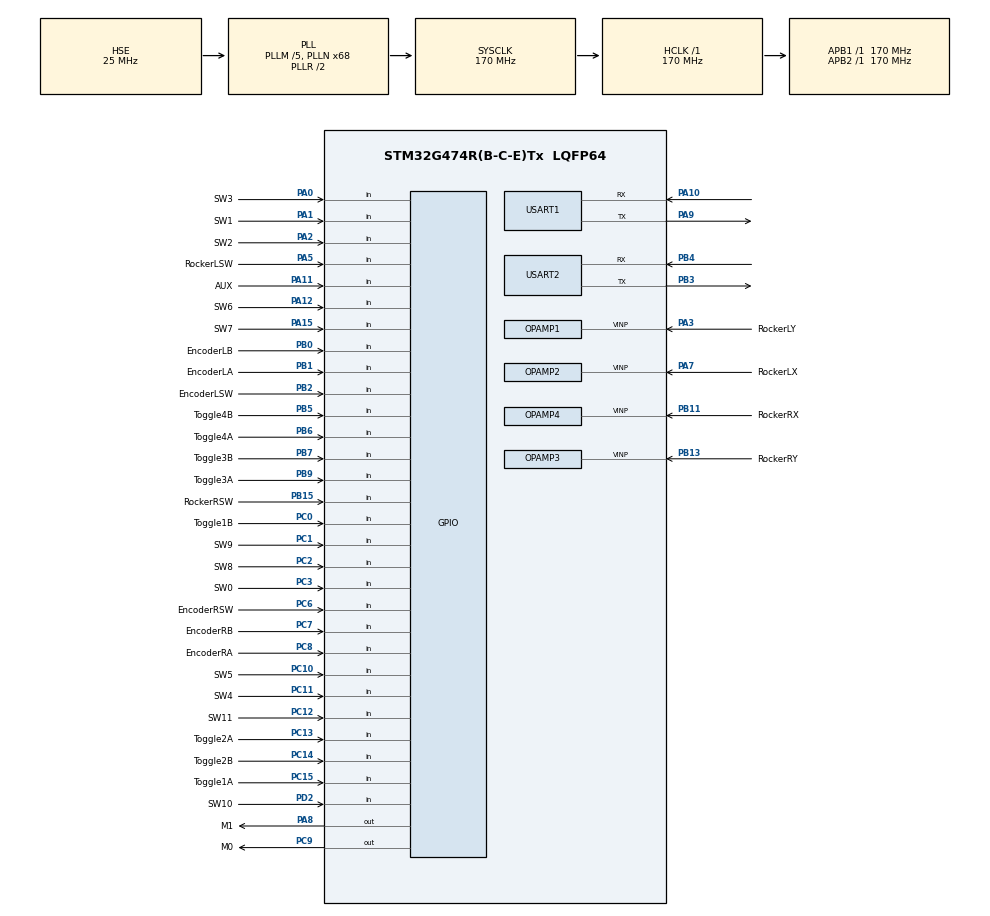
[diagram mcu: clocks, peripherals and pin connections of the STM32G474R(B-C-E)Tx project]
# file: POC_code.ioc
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ADC1.Channel-0\#ChannelRegularConversion=ADC_CHANNEL_VOPAMP1
ADC1.ContinuousConvMode=ENABLE
ADC1.DMAContinuousRequests=ENABLE
ADC1.NbrOfConversion=1
ADC1.NbrOfConversionFlag=1
ADC1.OffsetNumber-0\#ChannelRegularConversion=ADC_OFFSET_NONE
ADC1.Rank-0\#ChannelRegularConversion=1
ADC1.SamplingTime-0\#ChannelRegularConversion=ADC_SAMPLETIME_6CYCLES_5
ADC1.master=1
ADC2.Channel-0\#ChannelRegularConversion=ADC_CHANNEL_VOPAMP2
ADC2.ContinuousConvMode=ENABLE
ADC2.DMAContinuousRequests=ENABLE
ADC2.NbrOfConversionFlag=1
ADC2.OffsetNumber-0\#ChannelRegularConversion=ADC_OFFSET_NONE
ADC2.Rank-0\#ChannelRegularConversion=1
ADC2.SamplingTime-0\#ChannelRegularConversion=ADC_SAMPLETIME_6CYCLES_5
ADC3.Channel-0\#ChannelRegularConversion=ADC_CHANNEL_VOPAMP3_ADC3
ADC3.ContinuousConvMode=ENABLE
ADC3.DMAContinuousRequests=ENABLE
ADC3.NbrOfConversionFlag=1
ADC3.OffsetNumber-0\#ChannelRegularConversion=ADC_OFFSET_NONE
ADC3.Rank-0\#ChannelRegularConversion=1
ADC3.SamplingTime-0\#ChannelRegularConversion=ADC_SAMPLETIME_6CYCLES_5
ADC3.master=1
ADC5.Channel-0\#ChannelRegularConversion=ADC_CHANNEL_VOPAMP4
ADC5.ContinuousConvMode=ENABLE
ADC5.DMAContinuousRequests=ENABLE
ADC5.NbrOfConversionFlag=1
ADC5.OffsetNumber-0\#ChannelRegularConversion=ADC_OFFSET_NONE
ADC5.Rank-0\#ChannelRegularConversion=1
ADC5.SamplingTime-0\#ChannelRegularConversion=ADC_SAMPLETIME_6CYCLES_5
Dma.ADC1.4.Direction=DMA_PERIPH_TO_MEMORY
Dma.ADC1.4.EventEnable=DISABLE
Dma.ADC1.4.Instance=DMA1_Channel1
Dma.ADC1.4.MemDataAlignment=DMA_MDATAALIGN_HALFWORD
Dma.ADC1.4.MemInc=DMA_MINC_ENABLE
Dma.ADC1.4.Mode=DMA_CIRCULAR
Dma.ADC1.4.PeriphDataAlignment=DMA_PDATAALIGN_HALFWORD
Dma.ADC1.4.PeriphInc=DMA_PINC_DISABLE
Dma.ADC1.4.Polarity=HAL_DMAMUX_REQ_GEN_RISING
Dma.ADC1.4.Priority=DMA_PRIORITY_LOW
Dma.ADC1.4.RequestNumber=1
Dma.ADC1.4.SignalID=NONE
Dma.ADC1.4.SyncEnable=DISABLE
Dma.ADC1.4.SyncPolarity=HAL_DMAMUX_SYNC_NO_EVENT
Dma.ADC1.4.SyncRequestNumber=1
Dma.ADC1.4.SyncSignalID=NONE
Dma.ADC2.5.Direction=DMA_PERIPH_TO_MEMORY
Dma.ADC2.5.EventEnable=DISABLE
Dma.ADC2.5.Instance=DMA1_Channel2
Dma.ADC2.5.MemDataAlignment=DMA_MDATAALIGN_HALFWORD
Dma.ADC2.5.MemInc=DMA_MINC_ENABLE
Dma.ADC2.5.Mode=DMA_CIRCULAR
Dma.ADC2.5.PeriphDataAlignment=DMA_PDATAALIGN_HALFWORD
Dma.ADC2.5.PeriphInc=DMA_PINC_DISABLE
Dma.ADC2.5.Polarity=HAL_DMAMUX_REQ_GEN_RISING
Dma.ADC2.5.Priority=DMA_PRIORITY_LOW
Dma.ADC2.5.RequestNumber=1
Dma.ADC2.5.SignalID=NONE
Dma.ADC2.5.SyncEnable=DISABLE
Dma.ADC2.5.SyncPolarity=HAL_DMAMUX_SYNC_NO_EVENT
Dma.ADC2.5.SyncRequestNumber=1
Dma.ADC2.5.SyncSignalID=NONE
Dma.ADC3.6.Direction=DMA_PERIPH_TO_MEMORY
Dma.ADC3.6.EventEnable=DISABLE
Dma.ADC3.6.Instance=DMA1_Channel3
Dma.ADC3.6.MemDataAlignment=DMA_MDATAALIGN_HALFWORD
Dma.ADC3.6.MemInc=DMA_MINC_ENABLE
Dma.ADC3.6.Mode=DMA_CIRCULAR
Dma.ADC3.6.PeriphDataAlignment=DMA_PDATAALIGN_HALFWORD
Dma.ADC3.6.PeriphInc=DMA_PINC_DISABLE
Dma.ADC3.6.Polarity=HAL_DMAMUX_REQ_GEN_RISING
Dma.ADC3.6.Priority=DMA_PRIORITY_LOW
Dma.ADC3.6.RequestNumber=1
Dma.ADC3.6.SignalID=NONE
Dma.ADC3.6.SyncEnable=DISABLE
Dma.ADC3.6.SyncPolarity=HAL_DMAMUX_SYNC_NO_EVENT
Dma.ADC3.6.SyncRequestNumber=1
Dma.ADC3.6.SyncSignalID=NONE
Dma.ADC5.7.Direction=DMA_PERIPH_TO_MEMORY
Dma.ADC5.7.EventEnable=DISABLE
Dma.ADC5.7.Instance=DMA1_Channel4
Dma.ADC5.7.MemDataAlignment=DMA_MDATAALIGN_HALFWORD
Dma.ADC5.7.MemInc=DMA_MINC_ENABLE
Dma.ADC5.7.Mode=DMA_CIRCULAR
Dma.ADC5.7.PeriphDataAlignment=DMA_PDATAALIGN_HALFWORD
Dma.ADC5.7.PeriphInc=DMA_PINC_DISABLE
Dma.ADC5.7.Polarity=HAL_DMAMUX_REQ_GEN_RISING
Dma.ADC5.7.Priority=DMA_PRIORITY_LOW
Dma.ADC5.7.RequestNumber=1
Dma.ADC5.7.SignalID=NONE
Dma.ADC5.7.SyncEnable=DISABLE
Dma.ADC5.7.SyncPolarity=HAL_DMAMUX_SYNC_NO_EVENT
Dma.ADC5.7.SyncRequestNumber=1
Dma.ADC5.7.SyncSignalID=NONE
Dma.Request0=USART1_RX
Dma.Request1=USART1_TX
Dma.Request2=USART2_RX
Dma.Request3=USART2_TX
Dma.Request4=ADC1
Dma.Request5=ADC2
Dma.Request6=ADC3
Dma.Request7=ADC5
Dma.USART1_RX.0.Direction=DMA_PERIPH_TO_MEMORY
Dma.USART1_RX.0.EventEnable=DISABLE
Dma.USART1_RX.0.Instance=DMA2_Channel1
Dma.USART1_RX.0.MemDataAlignment=DMA_MDATAALIGN_BYTE
Dma.USART1_RX.0.MemInc=DMA_MINC_ENABLE
Dma.USART1_RX.0.Mode=DMA_NORMAL
Dma.USART1_RX.0.PeriphDataAlignment=DMA_PDATAALIGN_BYTE
Dma.USART1_RX.0.PeriphInc=DMA_PINC_DISABLE
Dma.USART1_RX.0.Polarity=HAL_DMAMUX_REQ_GEN_RISING
Dma.USART1_RX.0.Priority=DMA_PRIORITY_HIGH
Dma.USART1_RX.0.RequestNumber=1
Dma.USART1_RX.0.SignalID=NONE
Dma.USART1_RX.0.SyncEnable=DISABLE
Dma.USART1_RX.0.SyncPolarity=HAL_DMAMUX_SYNC_NO_EVENT
Dma.USART1_RX.0.SyncRequestNumber=1
Dma.USART1_RX.0.SyncSignalID=NONE
Dma.USART1_TX.1.Direction=DMA_MEMORY_TO_PERIPH
Dma.USART1_TX.1.EventEnable=DISABLE
Dma.USART1_TX.1.Instance=DMA2_Channel2
Dma.USART1_TX.1.MemDataAlignment=DMA_MDATAALIGN_BYTE
Dma.USART1_TX.1.MemInc=DMA_MINC_ENABLE
Dma.USART1_TX.1.Mode=DMA_NORMAL
Dma.USART1_TX.1.PeriphDataAlignment=DMA_PDATAALIGN_BYTE
Dma.USART1_TX.1.PeriphInc=DMA_PINC_DISABLE
Dma.USART1_TX.1.Polarity=HAL_DMAMUX_REQ_GEN_RISING
Dma.USART1_TX.1.Priority=DMA_PRIORITY_HIGH
Dma.USART1_TX.1.RequestNumber=1
Dma.USART1_TX.1.SignalID=NONE
Dma.USART1_TX.1.SyncEnable=DISABLE
Dma.USART1_TX.1.SyncPolarity=HAL_DMAMUX_SYNC_NO_EVENT
Dma.USART1_TX.1.SyncRequestNumber=1
Dma.USART1_TX.1.SyncSignalID=NONE
Dma.USART2_RX.2.Direction=DMA_PERIPH_TO_MEMORY
Dma.USART2_RX.2.EventEnable=DISABLE
Dma.USART2_RX.2.Instance=DMA2_Channel3
Dma.USART2_RX.2.MemDataAlignment=DMA_MDATAALIGN_BYTE
Dma.USART2_RX.2.MemInc=DMA_MINC_ENABLE
Dma.USART2_RX.2.Mode=DMA_NORMAL
Dma.USART2_RX.2.PeriphDataAlignment=DMA_PDATAALIGN_BYTE
Dma.USART2_RX.2.PeriphInc=DMA_PINC_DISABLE
Dma.USART2_RX.2.Polarity=HAL_DMAMUX_REQ_GEN_RISING
Dma.USART2_RX.2.Priority=DMA_PRIORITY_LOW
Dma.USART2_RX.2.RequestNumber=1
Dma.USART2_RX.2.SignalID=NONE
Dma.USART2_RX.2.SyncEnable=DISABLE
Dma.USART2_RX.2.SyncPolarity=HAL_DMAMUX_SYNC_NO_EVENT
Dma.USART2_RX.2.SyncRequestNumber=1
Dma.USART2_RX.2.SyncSignalID=NONE
Dma.USART2_TX.3.Direction=DMA_MEMORY_TO_PERIPH
Dma.USART2_TX.3.EventEnable=DISABLE
Dma.USART2_TX.3.Instance=DMA2_Channel4
Dma.USART2_TX.3.MemDataAlignment=DMA_MDATAALIGN_BYTE
Dma.USART2_TX.3.MemInc=DMA_MINC_ENABLE
Dma.USART2_TX.3.Mode=DMA_NORMAL
Dma.USART2_TX.3.PeriphDataAlignment=DMA_PDATAALIGN_BYTE
Dma.USART2_TX.3.PeriphInc=DMA_PINC_DISABLE
Dma.USART2_TX.3.Polarity=HAL_DMAMUX_REQ_GEN_RISING
Dma.USART2_TX.3.Priority=DMA_PRIORITY_LOW
Dma.USART2_TX.3.RequestNumber=1
Dma.USART2_TX.3.SignalID=NONE
Dma.USART2_TX.3.SyncEnable=DISABLE
Dma.USART2_TX.3.SyncPolarity=HAL_DMAMUX_SYNC_NO_EVENT
Dma.USART2_TX.3.SyncRequestNumber=1
Dma.USART2_TX.3.SyncSignalID=NONE
Mcu.Family=STM32G4
Mcu.Name=STM32G474R(B-C-E)Tx
Mcu.Package=LQFP64
NVIC.DMA1_Channel1_IRQn=true\:6\:0\:true\:false\:true\:true\:true\:true
NVIC.DMA1_Channel2_IRQn=true\:6\:0\:true\:false\:true\:true\:true\:true
NVIC.DMA1_Channel3_IRQn=true\:6\:0\:true\:false\:true\:true\:true\:true
NVIC.DMA1_Channel4_IRQn=true\:6\:0\:true\:false\:true\:false\:true\:true
NVIC.DMA2_Channel1_IRQn=true\:3\:0\:true\:false\:true\:false\:true\:true
NVIC.DMA2_Channel2_IRQn=true\:3\:0\:true\:false\:true\:false\:true\:true
NVIC.DMA2_Channel3_IRQn=true\:3\:0\:true\:false\:true\:false\:true\:true
NVIC.DMA2_Channel4_IRQn=true\:3\:0\:true\:false\:true\:false\:true\:true
NVIC.PriorityGroup=NVIC_PRIORITYGROUP_4
NVIC.TIM1_UP_TIM16_IRQn=true\:15\:0\:false\:false\:true\:false\:true\:true
NVIC.TIM6_DAC_IRQn=true\:0\:0\:true\:false\:true\:true\:true\:true
NVIC.TIM7_DAC_IRQn=true\:0\:0\:true\:false\:true\:true\:true\:true
NVIC.TimeBase=TIM1_UP_TIM16_IRQn
NVIC.TimeBaseIP=TIM1
NVIC.USART1_IRQn=true\:1\:0\:true\:false\:true\:false\:true\:true
NVIC.USART2_IRQn=true\:1\:0\:true\:false\:true\:false\:true\:true
PA0.GPIO_Label=SW3
PA0.GPIO_PuPd=GPIO_PULLUP
PA0.Signal=GPIO_Input
PA1.GPIO_Label=SW1
PA1.GPIO_PuPd=GPIO_PULLUP
PA1.Signal=GPIO_Input
PA10.Mode=Asynchronous
PA10.Signal=USART1_RX
PA11.GPIO_Label=AUX
PA11.GPIO_PuPd=GPIO_NOPULL
PA11.Signal=GPIO_Input
PA12.GPIO_Label=SW6
PA12.GPIO_PuPd=GPIO_PULLUP
PA12.Signal=GPIO_Input
PA13.Mode=Serial_Wire
PA13.Signal=SYS_JTMS-SWDIO
PA14.Mode=Serial_Wire
PA14.Signal=SYS_JTCK-SWCLK
PA15.GPIO_Label=SW7
PA15.GPIO_PuPd=GPIO_PULLUP
PA15.Signal=GPIO_Input
PA2.GPIO_Label=SW2
PA2.GPIO_PuPd=GPIO_PULLUP
PA2.Signal=GPIO_Input
PA3.GPIO_Label=RockerLY
PA3.Mode=Follower_Internally_Connected
PA3.Signal=OPAMP1_VINP
PA5.GPIO_Label=RockerLSW
PA5.GPIO_PuPd=GPIO_PULLUP
PA5.Signal=GPIO_Input
PA7.GPIO_Label=RockerLX
PA7.Mode=Follower_Internally_Connected
PA7.Signal=OPAMP2_VINP
PA8.GPIO_Label=M1
PA8.GPIO_PuPd=GPIO_PULLDOWN
PA8.Signal=GPIO_Output
PA9.Mode=Asynchronous
PA9.Signal=USART1_TX
PB0.GPIO_Label=EncoderLB
PB0.GPIO_PuPd=GPIO_PULLUP
PB0.Signal=GPIO_Input
PB1.GPIO_Label=EncoderLA
PB1.GPIO_PuPd=GPIO_PULLUP
PB1.Signal=GPIO_Input
PB11.GPIO_Label=RockerRX
PB11.Mode=Follower_Internally_Connected
PB11.Signal=OPAMP4_VINP
PB13.GPIO_Label=RockerRY
PB13.Mode=Follower_Internally_Connected
PB13.Signal=OPAMP3_VINP
PB15.GPIO_Label=RockerRSW
PB15.GPIO_PuPd=GPIO_PULLUP
PB15.Signal=GPIO_Input
PB2.GPIO_Label=EncoderLSW
PB2.GPIO_PuPd=GPIO_PULLUP
PB2.Signal=GPIO_Input
PB3.Mode=Asynchronous
PB3.Signal=USART2_TX
PB4.Mode=Asynchronous
PB4.Signal=USART2_RX
PB5.GPIO_Label=Toggle4B
PB5.GPIO_PuPd=GPIO_PULLUP
PB5.Signal=GPIO_Input
PB6.GPIO_Label=Toggle4A
PB6.GPIO_PuPd=GPIO_PULLUP
PB6.Signal=GPIO_Input
PB7.GPIO_Label=Toggle3B
PB7.GPIO_PuPd=GPIO_PULLUP
PB7.Signal=GPIO_Input
PB9.GPIO_Label=Toggle3A
PB9.GPIO_PuPd=GPIO_PULLUP
PB9.Signal=GPIO_Input
PC0.GPIO_Label=Toggle1B
PC0.GPIO_PuPd=GPIO_PULLUP
PC0.Signal=GPIO_Input
PC1.GPIO_Label=SW9
PC1.GPIO_PuPd=GPIO_PULLUP
PC1.Signal=GPIO_Input
PC10.GPIO_Label=SW5
PC10.GPIO_PuPd=GPIO_PULLUP
PC10.Signal=GPIO_Input
PC11.GPIO_Label=SW4
PC11.GPIO_PuPd=GPIO_PULLUP
PC11.Signal=GPIO_Input
PC12.GPIO_Label=SW11
PC12.GPIO_PuPd=GPIO_PULLUP
PC12.Signal=GPIO_Input
PC13.GPIO_Label=Toggle2A
PC13.GPIO_PuPd=GPIO_PULLUP
PC13.Signal=GPIO_Input
PC14-OSC32_IN.GPIO_Label=Toggle2B
PC14-OSC32_IN.GPIO_PuPd=GPIO_PULLUP
PC14-OSC32_IN.Signal=GPIO_Input
PC15-OSC32_OUT.GPIO_Label=Toggle1A
PC15-OSC32_OUT.GPIO_PuPd=GPIO_PULLUP
PC15-OSC32_OUT.Signal=GPIO_Input
PC2.GPIO_Label=SW8
PC2.GPIO_PuPd=GPIO_PULLUP
PC2.Signal=GPIO_Input
PC3.GPIO_Label=SW0
PC3.GPIO_PuPd=GPIO_PULLUP
PC3.Signal=GPIO_Input
PC6.GPIO_Label=EncoderRSW
PC6.GPIO_PuPd=GPIO_PULLUP
PC6.Signal=GPIO_Input
PC7.GPIO_Label=EncoderRB
PC7.GPIO_PuPd=GPIO_PULLUP
PC7.Signal=GPIO_Input
PC8.GPIO_Label=EncoderRA
PC8.GPIO_PuPd=GPIO_PULLUP
PC8.Signal=GPIO_Input
PC9.GPIO_Label=M0
PC9.GPIO_PuPd=GPIO_PULLDOWN
PC9.Signal=GPIO_Output
PD2.GPIO_Label=SW10
PD2.GPIO_PuPd=GPIO_PULLUP
PD2.Signal=GPIO_Input
PF0-OSC_IN.Mode=HSE-External-Oscillator
PF0-OSC_IN.Signal=RCC_OSC_IN
PF1-OSC_OUT.Mode=HSE-External-Oscillator
PF1-OSC_OUT.Signal=RCC_OSC_OUT
ProjectManager.HeapSize=0x200
ProjectManager.StackSize=0x400
ProjectManager.TargetToolchain=MDK-ARM V5.32
RCC.ADC12Freq_Value=170000000
RCC.ADC345Freq_Value=170000000
RCC.AHBFreq_Value=170000000
RCC.APB1Freq_Value=170000000
RCC.APB1TimFreq_Value=170000000
RCC.APB2Freq_Value=170000000
RCC.APB2TimFreq_Value=170000000
RCC.CortexFreq_Value=170000000
RCC.EXTERNAL_CLOCK_VALUE=12288000
RCC.HCLKFreq_Value=170000000
RCC.HSE_VALUE=25000000
RCC.HSI48_VALUE=48000000
RCC.HSI_VALUE=16000000
RCC.LSE_VALUE=32768
RCC.PLLM=RCC_PLLM_DIV5
RCC.PLLN=68
RCC.PLLSourceVirtual=RCC_PLLSOURCE_HSE
RCC.SYSCLKFreq_VALUE=170000000
RCC.SYSCLKSource=RCC_SYSCLKSOURCE_PLLCLK
RCC.USBFreq_Value=170000000
RCC.VCOOutputFreq_Value=340000000
TIM6.PeriodNoDither=1000-1
TIM6.Prescaler=170-1
TIM7.PeriodNoDither=10000-1
TIM7.Prescaler=170-1
USART1.VirtualMode-Asynchronous=VM_ASYNC
USART2.VirtualMode-Asynchronous=VM_ASYNC
VP_ADC1_OPAMP_INTERNAL1.Mode=IN-OPAMP1
VP_ADC2_OPAMP_INTERNAL2.Mode=IN-OPAMP2
VP_ADC3_OPAMP_INTERNAL3.Mode=IN-OPAMP3
VP_ADC5_OPAMP_INTERNAL4.Mode=IN-OPAMP4
VP_SYS_VS_DBSignals.Mode=DisableDeadBatterySignals
VP_SYS_VS_tim1.Mode=TIM1
VP_TIM6_VS_ClockSourceINT.Mode=Enable_Timer
VP_TIM7_VS_ClockSourceINT.Mode=Enable_Timer
board=custom

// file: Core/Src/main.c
/* USER CODE BEGIN Header */
/**
  ******************************************************************************
  * @file           : main.c
  * @brief          : Main program body
  ******************************************************************************
  * @attention
  *
  * Copyright (c) 2025 STMicroelectronics.
  * All rights reserved.
  *
  * This software is licensed under terms that can be found in the LICENSE file
  * in the root directory of this software component.
  * If no LICENSE file comes with this software, it is provided AS-IS.
  *
  ******************************************************************************
  */
/* USER CODE END Header */
#include "main.h"
#include "adc.h"
#include "dma.h"
#include "opamp.h"
#include "tim.h"
#include "usart.h"
#include "gpio.h"

/* USER CODE BEGIN Includes */
#include "bsp_button.h"
/* USER CODE END Includes */

/* USER CODE BEGIN PV */
uint8_t usart1_rx_buf[32] = {0};
uint8_t usart1_tx_buf[26] = {0};
uint8_t usart2_rx_buf[64] = {0};
uint8_t usart2_tx_buf[128] = {0};

uint8_t button_state_list[32] = {0};

uint16_t adc1_buf[20] = {0};
uint16_t adc2_buf[20] = {0};
uint16_t adc3_buf[20] = {0};
uint16_t adc5_buf[20] = {0};

uint8_t SENDEN = 0;
uint8_t SENDCNT = 0;

uint32_t cnttest = 0;

uint8_t encoder[2] = {0};
/* USER CODE END PV */

void SystemClock_Config(void);

int main(void)
{

  /* MCU Configuration--------------------------------------------------------*/

  /* Reset of all peripherals, Initializes the Flash interface and the Systick. */
  HAL_Init();

  /* Configure the system clock */
  SystemClock_Config();

  /* Initialize all configured peripherals */
  MX_GPIO_Init();
  MX_DMA_Init();
  MX_TIM6_Init();
  MX_USART1_UART_Init();
  MX_USART2_UART_Init();
  MX_ADC1_Init();
  MX_ADC2_Init();
  MX_ADC3_Init();
  MX_ADC5_Init();
  MX_OPAMP1_Init();
  MX_OPAMP2_Init();
  MX_OPAMP3_Init();
  MX_OPAMP4_Init();
  MX_TIM7_Init();
  /* USER CODE BEGIN 2 */
  usart1_tx_buf[0] = 0X00;// 地址高
  usart1_tx_buf[1] = 0XAA;// 地址低
  usart1_tx_buf[2] = 0X01;// 信道
  usart1_tx_buf[3] = 0XAA;// 包头
  usart1_tx_buf[4] = 0XAA;
  usart1_tx_buf[24] = 0XAA;// 包尾
  usart1_tx_buf[25] = 0XAA;

  HAL_GPIO_WritePin(M0_GPIO_Port ,M0_Pin, GPIO_PIN_SET);
  HAL_GPIO_WritePin(M1_GPIO_Port ,M1_Pin, GPIO_PIN_RESET);

  // 按钮注册
  BTN.SW0 = Button_Register(SW0_GPIO_Port, SW0_Pin);
  BTN.SW1 = Button_Register(SW1_GPIO_Port, SW1_Pin);
  BTN.SW2 = Button_Register(SW2_GPIO_Port, SW2_Pin);
  BTN.SW3 = Button_Register(SW3_GPIO_Port, SW3_Pin);
  BTN.SW4 = Button_Register(SW4_GPIO_Port, SW4_Pin);
  BTN.SW5 = Button_Register(SW5_GPIO_Port, SW5_Pin);
  BTN.SW6 = Button_Register(SW6_GPIO_Port, SW6_Pin);
  BTN.SW7 = Button_Register(SW7_GPIO_Port, SW7_Pin);
  BTN.SW8 = Button_Register(SW8_GPIO_Port, SW8_Pin);
  BTN.SW9 = Button_Register(SW9_GPIO_Port, SW9_Pin);
  BTN.SW10 = Button_Register(SW10_GPIO_Port, SW10_Pin);
  BTN.SW11 = Button_Register(SW11_GPIO_Port, SW11_Pin);
  BTN.Toggle1A = Button_Register(Toggle1A_GPIO_Port, Toggle1A_Pin);
  BTN.Toggle1B = Button_Register(Toggle1B_GPIO_Port, Toggle1B_Pin);
  BTN.Toggle2A = Button_Register(Toggle2A_GPIO_Port, Toggle2A_Pin);
  BTN.Toggle2B = Button_Register(Toggle2B_GPIO_Port, Toggle2B_Pin);
  BTN.Toggle3A = Button_Register(Toggle3A_GPIO_Port, Toggle3A_Pin);
  BTN.Toggle3B = Button_Register(Toggle3B_GPIO_Port, Toggle3B_Pin);
  BTN.Toggle4A = Button_Register(Toggle4A_GPIO_Port, Toggle4A_Pin);
  BTN.Toggle4B = Button_Register(Toggle4B_GPIO_Port, Toggle4B_Pin);
  BTN.EncoderLA = Button_Register(EncoderLA_GPIO_Port, EncoderLA_Pin);
  BTN.EncoderLB = Button_Register(EncoderLB_GPIO_Port, EncoderLB_Pin);
  BTN.EncoderLSW = Button_Register(EncoderLSW_GPIO_Port, EncoderLSW_Pin);
  BTN.EncoderRA = Button_Register(EncoderRA_GPIO_Port, EncoderRA_Pin);
  BTN.EncoderRB = Button_Register(EncoderRB_GPIO_Port, EncoderRB_Pin);
  BTN.EncoderRSW = Button_Register(EncoderRSW_GPIO_Port, EncoderRSW_Pin);
  BTN.RockerLSW = Button_Register(RockerLSW_GPIO_Port, RockerLSW_Pin);
  BTN.RockerRSW = Button_Register(RockerRSW_GPIO_Port, RockerRSW_Pin);
	Button_Init();

	HAL_UARTEx_ReceiveToIdle_DMA(&huart1, usart1_rx_buf, sizeof(usart1_rx_buf));
  HAL_UARTEx_ReceiveToIdle_DMA(&huart2, usart2_rx_buf, sizeof(usart2_rx_buf));
  __HAL_DMA_DISABLE_IT(&hdma_usart1_rx, DMA_IT_HT);
  __HAL_DMA_DISABLE_IT(&hdma_usart2_rx, DMA_IT_HT);

	HAL_TIM_Base_Start_IT(&htim6);
	HAL_TIM_Base_Start_IT(&htim7);

	// 开启摇杆ADC校准、采样
	HAL_OPAMP_Start(&hopamp1);
	HAL_OPAMP_Start(&hopamp2);
	HAL_OPAMP_Start(&hopamp3);
  HAL_OPAMP_Start(&hopamp4);
  HAL_ADCEx_Calibration_Start(&hadc1, ADC_SINGLE_ENDED);
  HAL_ADCEx_Calibration_Start(&hadc2, ADC_SINGLE_ENDED);
  HAL_ADCEx_Calibration_Start(&hadc3, ADC_SINGLE_ENDED);
  HAL_ADCEx_Calibration_Start(&hadc5, ADC_SINGLE_ENDED);
	HAL_ADC_Start_DMA(&hadc1, (uint32_t*)adc1_buf, 20);
	__HAL_DMA_DISABLE_IT(&hdma_adc1, DMA_IT_HT);
	HAL_ADC_Start_DMA(&hadc2, (uint32_t*)adc2_buf, 20);
	__HAL_DMA_DISABLE_IT(&hdma_adc2, DMA_IT_HT);
	HAL_ADC_Start_DMA(&hadc3, (uint32_t*)adc3_buf, 20);
	__HAL_DMA_DISABLE_IT(&hdma_adc3, DMA_IT_HT);
  HAL_ADC_Start_DMA(&hadc5, (uint32_t*)adc5_buf, 20);
  __HAL_DMA_DISABLE_IT(&hdma_adc5, DMA_IT_HT);
  /* USER CODE END 2 */

  /* Infinite loop */
  while (1)
  {

    /* USER CODE BEGIN 3 */
		cnttest++;
  }
  /* USER CODE END 3 */
}

void SystemClock_Config(void)
{
  RCC_OscInitTypeDef RCC_OscInitStruct = {0};
  RCC_ClkInitTypeDef RCC_ClkInitStruct = {0};

  /** Configure the main internal regulator output voltage
  */
  HAL_PWREx_ControlVoltageScaling(PWR_REGULATOR_VOLTAGE_SCALE1_BOOST);

  /** Initializes the RCC Oscillators according to the specified parameters
  * in the RCC_OscInitTypeDef structure.
  */
  RCC_OscInitStruct.OscillatorType = RCC_OSCILLATORTYPE_HSE;
  RCC_OscInitStruct.HSEState = RCC_HSE_ON;
  RCC_OscInitStruct.PLL.PLLState = RCC_PLL_ON;
  RCC_OscInitStruct.PLL.PLLSource = RCC_PLLSOURCE_HSE;
  RCC_OscInitStruct.PLL.PLLM = RCC_PLLM_DIV5;
  RCC_OscInitStruct.PLL.PLLN = 68;
  RCC_OscInitStruct.PLL.PLLP = RCC_PLLP_DIV2;
  RCC_OscInitStruct.PLL.PLLQ = RCC_PLLQ_DIV2;
  RCC_OscInitStruct.PLL.PLLR = RCC_PLLR_DIV2;
  if (HAL_RCC_OscConfig(&RCC_OscInitStruct) != HAL_OK)
  {
    Error_Handler();
  }

  /** Initializes the CPU, AHB and APB buses clocks
  */
  RCC_ClkInitStruct.ClockType = RCC_CLOCKTYPE_HCLK|RCC_CLOCKTYPE_SYSCLK
                              |RCC_CLOCKTYPE_PCLK1|RCC_CLOCKTYPE_PCLK2;
  RCC_ClkInitStruct.SYSCLKSource = RCC_SYSCLKSOURCE_PLLCLK;
  RCC_ClkInitStruct.AHBCLKDivider = RCC_SYSCLK_DIV1;
  RCC_ClkInitStruct.APB1CLKDivider = RCC_HCLK_DIV1;
  RCC_ClkInitStruct.APB2CLKDivider = RCC_HCLK_DIV1;

  if (HAL_RCC_ClockConfig(&RCC_ClkInitStruct, FLASH_LATENCY_4) != HAL_OK)
  {
    Error_Handler();
  }
}

/* USER CODE BEGIN 4 */
void HAL_UARTEx_RxEventCallback(UART_HandleTypeDef *huart, uint16_t Size){
  if(huart->Instance == USART1){
  }
  if(huart->Instance == USART2){
    if(usart2_rx_buf[0]==0xBB && usart2_rx_buf[1]==0xBB){
      usart1_tx_buf[14] = usart2_rx_buf[2]<<4 | usart2_rx_buf[3];
      usart1_tx_buf[15] = usart2_rx_buf[4];
      usart1_tx_buf[16] = usart2_rx_buf[5];
    }
  }
}

void HAL_UART_ErrorCallback(UART_HandleTypeDef *huart){
  if(huart->Instance == USART1){
    HAL_UARTEx_ReceiveToIdle_DMA(&huart1, usart1_rx_buf, sizeof(usart1_rx_buf));
    __HAL_DMA_DISABLE_IT(&hdma_usart1_rx, DMA_IT_HT);
  }
  if(huart->Instance == USART2){
    HAL_UARTEx_ReceiveToIdle_DMA(&huart2, usart2_rx_buf, sizeof(usart2_rx_buf));
    __HAL_DMA_DISABLE_IT(&hdma_usart2_rx, DMA_IT_HT);
  }
}

void HAL_ADC_ConvCpltCallback(ADC_HandleTypeDef *hadc){
  if(hadc->Instance == ADC1){
    uint32_t sum1 = 0;
    for(int i=0; i<20; i++){
      sum1 += adc1_buf[i];
    }
    uint16_t adc1_value = sum1 / 20;
    uint8_t mapped1 = (adc1_value <= 900) ? 255 : (adc1_value >= 3200) ? 0 : (uint8_t)(255 - (((adc1_value - 900) * 255) / (3200 - 900)));
    usart1_tx_buf[7] = mapped1;
  }
  if(hadc->Instance == ADC2){
    uint32_t sum2 = 0;
    for(int i=0; i<20; i++){
      sum2 += adc2_buf[i];
    }
    uint16_t adc2_value = sum2 / 20;
    uint8_t mapped2 = (adc2_value <= 900) ? 0 : (adc2_value >= 3200) ? 255 : (uint8_t)(((adc2_value - 900) * 255) / (3200 - 900));
    usart1_tx_buf[6] = mapped2;
  }
  if(hadc->Instance == ADC3){
    uint32_t sum3 = 0;
    for(int i=0; i<20; i++){
      sum3 += adc3_buf[i];
    }
    uint16_t adc3_value = sum3 / 20;
    uint8_t mapped3 = (adc3_value <= 900) ? 255 : (adc3_value >= 3200) ? 0 : (uint8_t)(255 - (((adc3_value - 900) * 255) / (3200 - 900)));
    usart1_tx_buf[9] = mapped3;
  }
  if(hadc->Instance == ADC5){
    uint32_t sum5 = 0;
    for(int i=0; i<20; i++){
      sum5 += adc5_buf[i];
    }
    uint16_t adc5_value = sum5 / 20;
    uint8_t mapped5 = (adc5_value <= 900) ? 0 : (adc5_value >= 3200) ? 255 : (uint8_t)(((adc5_value - 900) * 255) / (3200 - 900));
    usart1_tx_buf[8] = mapped5;
  }
}
/* USER CODE END 4 */

void HAL_TIM_PeriodElapsedCallback(TIM_HandleTypeDef *htim)
{
  if (htim->Instance == TIM1) {
    HAL_IncTick();
  }
  /* USER CODE BEGIN Callback 1 */
  if(htim->Instance == TIM6){
		encoder[0] = (encoder[0]==0) ? Encoder_Scan(buttons[BTN.EncoderLA].port, buttons[BTN.EncoderLA].pin, buttons[BTN.EncoderLB].port, buttons[BTN.EncoderLB].pin) : encoder[0];
    encoder[1] = (encoder[1]==0) ? Encoder_Scan(buttons[BTN.EncoderRA].port, buttons[BTN.EncoderRA].pin, buttons[BTN.EncoderRB].port, buttons[BTN.EncoderRB].pin) : encoder[1];
  }
  if(htim->Instance == TIM7){
    SENDCNT ++;
    usart1_tx_buf[23] = SENDCNT;
    Button_Scan();
    for(int i=0;i<32;i++){
      button_state_list[i] = Button_GetEvent((&BTN.SW0)+i);
    }

    if(button_state_list[BTN.EncoderLSW]==1) usart1_tx_buf[5] = 0x0F;
    else if(button_state_list[BTN.EncoderRSW]==1) usart1_tx_buf[5] = 0xF0;
    else usart1_tx_buf[5] = 0x00;

    usart1_tx_buf[10] = (button_state_list[0]<<7) | (button_state_list[1]<<6) | (button_state_list[2]<<5) | (button_state_list[3]<<4)
                      | (button_state_list[4]<<3) | (button_state_list[5]<<2) | (button_state_list[6]<<1) | (button_state_list[7]);
    usart1_tx_buf[11] = (button_state_list[8]<<7) | (button_state_list[9]<<6) | (button_state_list[10]<<5) | (button_state_list[11]<<4)
                      | (button_state_list[12]<<3) | (button_state_list[13]<<2) | (button_state_list[14]<<1) | (button_state_list[15]);
		usart1_tx_buf[12] = (button_state_list[16]<<7) | (button_state_list[17]<<6) | (button_state_list[18]<<5) | (button_state_list[19]<<4)
                      | (button_state_list[BTN.EncoderLSW]<<3) | (button_state_list[BTN.EncoderRSW]<<2) | (button_state_list[BTN.RockerLSW]<<1) | (button_state_list[BTN.RockerRSW]);
    usart1_tx_buf[13] = (encoder[0]<<6) | (encoder[1]<<4);

    if(SENDEN >= 1){
			HAL_UART_Transmit_DMA(&huart1, usart1_tx_buf, sizeof(usart1_tx_buf));
			SENDEN = 0;
      encoder[0] = 0;
      encoder[1] = 0;
		}
    else if(HAL_GPIO_ReadPin(AUX_GPIO_Port, AUX_Pin) == GPIO_PIN_SET){
			SENDEN ++;
    }
		else SENDEN = 0;

    int send_len2 = sprintf(usart2_tx_buf, "r2_chassis.lx.val=%d\xFF\xFF\xFFr2_chassis.ly.val=%d\xFF\xFF\xFFr2_chassis.rx.val=%d\xFF\xFF\xFFr2_chassis.ry.val=%d\xFF\xFF\xFF",
      usart1_tx_buf[6], usart1_tx_buf[7],
      usart1_tx_buf[8], usart1_tx_buf[9]);
    HAL_UART_Transmit_DMA(&huart2, usart2_tx_buf, send_len2);

  }
  /* USER CODE END Callback 1 */
}

void Error_Handler(void)
{
  __disable_irq();
  while (1)
  {
  }
}
